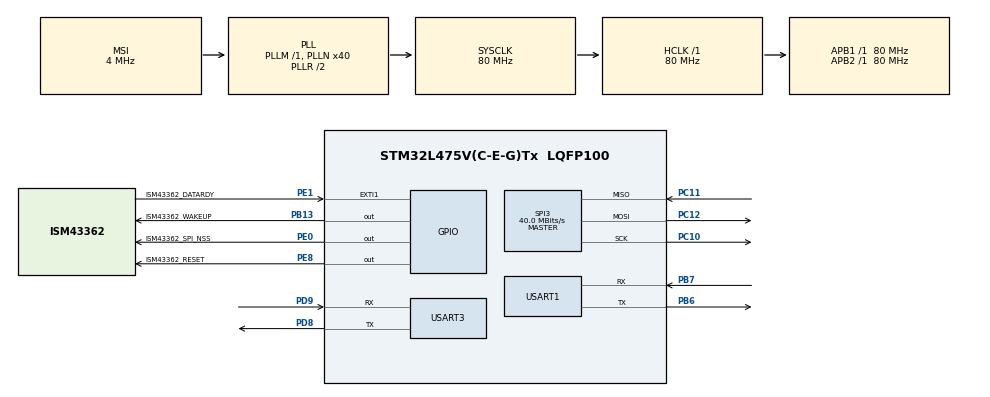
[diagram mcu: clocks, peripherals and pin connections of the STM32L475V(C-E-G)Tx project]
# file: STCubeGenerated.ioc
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Dma.Request0=SPI3_RX
Dma.Request1=SPI3_TX
Dma.SPI3_RX.0.Direction=DMA_PERIPH_TO_MEMORY
Dma.SPI3_RX.0.Instance=DMA2_Channel1
Dma.SPI3_RX.0.MemDataAlignment=DMA_MDATAALIGN_BYTE
Dma.SPI3_RX.0.MemInc=DMA_MINC_ENABLE
Dma.SPI3_RX.0.Mode=DMA_NORMAL
Dma.SPI3_RX.0.PeriphDataAlignment=DMA_PDATAALIGN_BYTE
Dma.SPI3_RX.0.PeriphInc=DMA_PINC_DISABLE
Dma.SPI3_RX.0.Priority=DMA_PRIORITY_LOW
Dma.SPI3_TX.1.Direction=DMA_MEMORY_TO_PERIPH
Dma.SPI3_TX.1.Instance=DMA2_Channel2
Dma.SPI3_TX.1.MemDataAlignment=DMA_MDATAALIGN_BYTE
Dma.SPI3_TX.1.MemInc=DMA_MINC_ENABLE
Dma.SPI3_TX.1.Mode=DMA_NORMAL
Dma.SPI3_TX.1.PeriphDataAlignment=DMA_PDATAALIGN_BYTE
Dma.SPI3_TX.1.PeriphInc=DMA_PINC_DISABLE
Dma.SPI3_TX.1.Priority=DMA_PRIORITY_LOW
Mcu.Family=STM32L4
Mcu.Name=STM32L475V(C-E-G)Tx
Mcu.Package=LQFP100
NVIC.DMA2_Channel1_IRQn=true\:7\:0\:true\:false\:true\:false\:true
NVIC.DMA2_Channel2_IRQn=true\:7\:0\:true\:false\:true\:false\:true
NVIC.EXTI1_IRQn=true\:15\:0\:true\:false\:true\:true\:true
NVIC.PriorityGroup=NVIC_PRIORITYGROUP_4
NVIC.SPI3_IRQn=true\:8\:0\:true\:false\:true\:true\:true
PB13.GPIO_Label=ISM43362_WAKEUP
PB13.Signal=GPIO_Output
PB6.Mode=Asynchronous
PB6.Signal=USART1_TX
PB7.Mode=Asynchronous
PB7.Signal=USART1_RX
PC10.Mode=Full_Duplex_Master
PC10.Signal=SPI3_SCK
PC11.Mode=Full_Duplex_Master
PC11.Signal=SPI3_MISO
PC12.Mode=Full_Duplex_Master
PC12.Signal=SPI3_MOSI
PC14-OSC32_IN\ (PC14).Mode=LSE-External-Oscillator
PC14-OSC32_IN\ (PC14).Signal=RCC_OSC32_IN
PC15-OSC32_OUT\ (PC15).Mode=LSE-External-Oscillator
PC15-OSC32_OUT\ (PC15).Signal=RCC_OSC32_OUT
PD8.Mode=Asynchronous
PD8.Signal=USART3_TX
PD9.Mode=Asynchronous
PD9.Signal=USART3_RX
PE0.GPIO_Label=ISM43362_SPI_NSS
PE0.GPIO_Speed=GPIO_SPEED_FREQ_VERY_HIGH
PE0.Signal=GPIO_Output
PE1.GPIO_Label=ISM43362_DATARDY
PE1.Signal=GPXTI1
PE8.GPIO_Label=ISM43362_RESET
PE8.Signal=GPIO_Output
ProjectManager.HeapSize=0x200
ProjectManager.StackSize=0x400
ProjectManager.TargetToolchain=MDK-ARM V5
RCC.ADCFreq_Value=48000000
RCC.AHBFreq_Value=80000000
RCC.APB1Freq_Value=80000000
RCC.APB1TimFreq_Value=80000000
RCC.APB2Freq_Value=80000000
RCC.APB2TimFreq_Value=80000000
RCC.CortexFreq_Value=80000000
RCC.HCLKFreq_Value=80000000
RCC.HSE_VALUE=8000000
RCC.HSI_VALUE=16000000
RCC.MSI_VALUE=4000000
RCC.PLLN=40
RCC.PLLSAI1N=24
RCC.SYSCLKFreq_VALUE=80000000
RCC.SYSCLKSource=RCC_SYSCLKSOURCE_PLLCLK
RCC.USBFreq_Value=48000000
RCC.VCOOutputFreq_Value=160000000
SPI3.CalculateBaudRate=40.0 MBits/s
SPI3.Direction=SPI_DIRECTION_2LINES
SPI3.Mode=SPI_MODE_MASTER
SPI3.VirtualType=VM_MASTER
USART1.VirtualMode-Asynchronous=VM_ASYNC
USART3.VirtualMode-Asynchronous=VM_ASYNC
VP_RNG_VS_RNG.Mode=RNG_Activate
board=custom

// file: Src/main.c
/* USER CODE BEGIN Header */
/**
  ******************************************************************************
  * @file           : main.c
  * @brief          : Main program body
  ******************************************************************************
  ** This notice applies to any and all portions of this file
  * that are not between comment pairs USER CODE BEGIN and
  * USER CODE END. Other portions of this file, whether
  * inserted by the user or by software development tools
  * are owned by their respective copyright owners.
  *
  * COPYRIGHT(c) 2018 STMicroelectronics
  *
  * Redistribution and use in source and binary forms, with or without modification,
  * are permitted provided that the following conditions are met:
  *   1. Redistributions of source code must retain the above copyright notice,
  *      this list of conditions and the following disclaimer.
  *   2. Redistributions in binary form must reproduce the above copyright notice,
  *      this list of conditions and the following disclaimer in the documentation
  *      and/or other materials provided with the distribution.
  *   3. Neither the name of STMicroelectronics nor the names of its contributors
  *      may be used to endorse or promote products derived from this software
  *      without specific prior written permission.
  *
  * THIS SOFTWARE IS PROVIDED BY THE COPYRIGHT HOLDERS AND CONTRIBUTORS "AS IS"
  * AND ANY EXPRESS OR IMPLIED WARRANTIES, INCLUDING, BUT NOT LIMITED TO, THE
  * IMPLIED WARRANTIES OF MERCHANTABILITY AND FITNESS FOR A PARTICULAR PURPOSE ARE
  * DISCLAIMED. IN NO EVENT SHALL THE COPYRIGHT HOLDER OR CONTRIBUTORS BE LIABLE
  * FOR ANY DIRECT, INDIRECT, INCIDENTAL, SPECIAL, EXEMPLARY, OR CONSEQUENTIAL
  * DAMAGES (INCLUDING, BUT NOT LIMITED TO, PROCUREMENT OF SUBSTITUTE GOODS OR
  * SERVICES; LOSS OF USE, DATA, OR PROFITS; OR BUSINESS INTERRUPTION) HOWEVER
  * CAUSED AND ON ANY THEORY OF LIABILITY, WHETHER IN CONTRACT, STRICT LIABILITY,
  * OR TORT (INCLUDING NEGLIGENCE OR OTHERWISE) ARISING IN ANY WAY OUT OF THE USE
  * OF THIS SOFTWARE, EVEN IF ADVISED OF THE POSSIBILITY OF SUCH DAMAGE.
  *
  ******************************************************************************
  */
/* USER CODE END Header */

#include "main.h"

/* USER CODE BEGIN Includes */
#include <stdbool.h>
#include "RTE_Components.h"
#ifdef RTE_Compiler_EventRecorder
#include "EventRecorder.h"
#endif
#include "pdmc_main.h"

extern void WiFi_ISM43362_Pin_DATARDY_IRQ (void);

extern const osThreadAttr_t app_main_attr;

/* USER CODE END Includes */

RNG_HandleTypeDef hrng;

SPI_HandleTypeDef hspi3;
DMA_HandleTypeDef hdma_spi3_rx;
DMA_HandleTypeDef hdma_spi3_tx;

UART_HandleTypeDef huart1;
UART_HandleTypeDef huart3;

/* USER CODE BEGIN PV */
/* Private variables ---------------------------------------------------------*/

/* USER CODE END PV */

void SystemClock_Config(void);
static void MX_GPIO_Init(void);
static void MX_DMA_Init(void);
static void MX_SPI3_Init(void);
static void MX_USART1_UART_Init(void);
static void MX_USART3_UART_Init(void);
static void MX_RNG_Init(void);
/* USER CODE BEGIN PFP */
/* Private function prototypes -----------------------------------------------*/

/* USER CODE END PFP */

/* USER CODE BEGIN 0 */

/**
  * Override default HAL_GetTick function
  */
volatile uint32_t DEBUG_Tick = 0;
uint32_t HAL_GetTick (void) {
  static uint32_t ticks = 0U;
         uint32_t i;

  if (osKernelGetState () == osKernelRunning) {
    DEBUG_Tick = osKernelGetTickCount ();
    return ((uint32_t)osKernelGetTickCount ());
  }

  /* If Kernel is not running wait approximately 1 ms then increment
     and return auxiliary tick counter value */
  for (i = (SystemCoreClock >> 14U); i > 0U; i--) {
    __NOP(); __NOP(); __NOP(); __NOP(); __NOP(); __NOP();
    __NOP(); __NOP(); __NOP(); __NOP(); __NOP(); __NOP();
  }
  return ++ticks;
}

/**
  * @brief  EXTI line detection callback.
  * @param  GPIO_Pin: Specifies the port pin connected to corresponding EXTI line.
  * @retval None
  */
void HAL_GPIO_EXTI_Callback(uint16_t GPIO_Pin)
{
    if (GPIO_Pin == GPIO_PIN_1) {
        WiFi_ISM43362_Pin_DATARDY_IRQ();
    }
}

/* USER CODE END 0 */

int main(void)
{

  /* MCU Configuration--------------------------------------------------------*/

  /* Reset of all peripherals, Initializes the Flash interface and the Systick. */
  HAL_Init();

  /* Configure the system clock */
  SystemClock_Config();

  /* USER CODE BEGIN SysInit */
  SystemCoreClockUpdate();
  /* USER CODE END SysInit */

  /* Initialize all configured peripherals */
  MX_GPIO_Init();
  MX_DMA_Init();
  MX_SPI3_Init();
  MX_USART1_UART_Init();
  MX_USART3_UART_Init();
  MX_RNG_Init();
  /* USER CODE BEGIN 2 */

  osKernelInitialize ();                        /* Initialize CMSIS-RTOS2 */
  //osThreadNew(poll_thread, NULL, NULL);  /* Create application main thread */
  osThreadNew(mbed_cloud_application_entrypoint, NULL, &app_main_attr);  /* Create application main thread */
  osKernelStart();                              /* Start thread execution */

  /* USER CODE END 2 */

  /* Infinite loop */
  while (1)
  {

  }
}

void SystemClock_Config(void)
{
  RCC_OscInitTypeDef RCC_OscInitStruct = {0};
  RCC_ClkInitTypeDef RCC_ClkInitStruct = {0};
  RCC_PeriphCLKInitTypeDef PeriphClkInit = {0};

  /** Configure LSE Drive Capability
  */
  HAL_PWR_EnableBkUpAccess();
  __HAL_RCC_LSEDRIVE_CONFIG(RCC_LSEDRIVE_LOW);
  /** Initializes the CPU, AHB and APB busses clocks
  */
  RCC_OscInitStruct.OscillatorType = RCC_OSCILLATORTYPE_LSE|RCC_OSCILLATORTYPE_MSI;
  RCC_OscInitStruct.LSEState = RCC_LSE_ON;
  RCC_OscInitStruct.MSIState = RCC_MSI_ON;
  RCC_OscInitStruct.MSICalibrationValue = 0;
  RCC_OscInitStruct.MSIClockRange = RCC_MSIRANGE_6;
  RCC_OscInitStruct.PLL.PLLState = RCC_PLL_ON;
  RCC_OscInitStruct.PLL.PLLSource = RCC_PLLSOURCE_MSI;
  RCC_OscInitStruct.PLL.PLLM = 1;
  RCC_OscInitStruct.PLL.PLLN = 40;
  RCC_OscInitStruct.PLL.PLLP = RCC_PLLP_DIV7;
  RCC_OscInitStruct.PLL.PLLQ = RCC_PLLQ_DIV2;
  RCC_OscInitStruct.PLL.PLLR = RCC_PLLR_DIV2;
  if (HAL_RCC_OscConfig(&RCC_OscInitStruct) != HAL_OK)
  {
    Error_Handler();
  }
  /** Initializes the CPU, AHB and APB busses clocks
  */
  RCC_ClkInitStruct.ClockType = RCC_CLOCKTYPE_HCLK|RCC_CLOCKTYPE_SYSCLK
                              |RCC_CLOCKTYPE_PCLK1|RCC_CLOCKTYPE_PCLK2;
  RCC_ClkInitStruct.SYSCLKSource = RCC_SYSCLKSOURCE_PLLCLK;
  RCC_ClkInitStruct.AHBCLKDivider = RCC_SYSCLK_DIV1;
  RCC_ClkInitStruct.APB1CLKDivider = RCC_HCLK_DIV1;
  RCC_ClkInitStruct.APB2CLKDivider = RCC_HCLK_DIV1;

  if (HAL_RCC_ClockConfig(&RCC_ClkInitStruct, FLASH_LATENCY_4) != HAL_OK)
  {
    Error_Handler();
  }
  PeriphClkInit.PeriphClockSelection = RCC_PERIPHCLK_USART1|RCC_PERIPHCLK_USART3
                              |RCC_PERIPHCLK_RNG;
  PeriphClkInit.Usart1ClockSelection = RCC_USART1CLKSOURCE_PCLK2;
  PeriphClkInit.Usart3ClockSelection = RCC_USART3CLKSOURCE_PCLK1;
  PeriphClkInit.RngClockSelection = RCC_RNGCLKSOURCE_PLLSAI1;
  PeriphClkInit.PLLSAI1.PLLSAI1Source = RCC_PLLSOURCE_MSI;
  PeriphClkInit.PLLSAI1.PLLSAI1M = 1;
  PeriphClkInit.PLLSAI1.PLLSAI1N = 24;
  PeriphClkInit.PLLSAI1.PLLSAI1P = RCC_PLLP_DIV7;
  PeriphClkInit.PLLSAI1.PLLSAI1Q = RCC_PLLQ_DIV2;
  PeriphClkInit.PLLSAI1.PLLSAI1R = RCC_PLLR_DIV2;
  PeriphClkInit.PLLSAI1.PLLSAI1ClockOut = RCC_PLLSAI1_48M2CLK;
  if (HAL_RCCEx_PeriphCLKConfig(&PeriphClkInit) != HAL_OK)
  {
    Error_Handler();
  }
  /** Configure the main internal regulator output voltage
  */
  if (HAL_PWREx_ControlVoltageScaling(PWR_REGULATOR_VOLTAGE_SCALE1) != HAL_OK)
  {
    Error_Handler();
  }
  /** Enable MSI Auto calibration
  */
  HAL_RCCEx_EnableMSIPLLMode();
}

static void MX_RNG_Init(void)
{

  hrng.Instance = RNG;
  if (HAL_RNG_Init(&hrng) != HAL_OK)
  {
    Error_Handler();
  }

}

static void MX_SPI3_Init(void)
{

  /* SPI3 parameter configuration*/
  hspi3.Instance = SPI3;
  hspi3.Init.Mode = SPI_MODE_MASTER;
  hspi3.Init.Direction = SPI_DIRECTION_2LINES;
  hspi3.Init.DataSize = SPI_DATASIZE_4BIT;
  hspi3.Init.CLKPolarity = SPI_POLARITY_LOW;
  hspi3.Init.CLKPhase = SPI_PHASE_1EDGE;
  hspi3.Init.NSS = SPI_NSS_SOFT;
  hspi3.Init.BaudRatePrescaler = SPI_BAUDRATEPRESCALER_2;
  hspi3.Init.FirstBit = SPI_FIRSTBIT_MSB;
  hspi3.Init.TIMode = SPI_TIMODE_DISABLE;
  hspi3.Init.CRCCalculation = SPI_CRCCALCULATION_DISABLE;
  hspi3.Init.CRCPolynomial = 7;
  hspi3.Init.CRCLength = SPI_CRC_LENGTH_DATASIZE;
  hspi3.Init.NSSPMode = SPI_NSS_PULSE_ENABLE;
  if (HAL_SPI_Init(&hspi3) != HAL_OK)
  {
    Error_Handler();
  }

}

static void MX_USART1_UART_Init(void)
{

  huart1.Instance = USART1;
  huart1.Init.BaudRate = 115200;
  huart1.Init.WordLength = UART_WORDLENGTH_8B;
  huart1.Init.StopBits = UART_STOPBITS_1;
  huart1.Init.Parity = UART_PARITY_NONE;
  huart1.Init.Mode = UART_MODE_TX_RX;
  huart1.Init.HwFlowCtl = UART_HWCONTROL_NONE;
  huart1.Init.OverSampling = UART_OVERSAMPLING_16;
  huart1.Init.OneBitSampling = UART_ONE_BIT_SAMPLE_DISABLE;
  huart1.AdvancedInit.AdvFeatureInit = UART_ADVFEATURE_NO_INIT;
  if (HAL_UART_Init(&huart1) != HAL_OK)
  {
    Error_Handler();
  }

}

static void MX_USART3_UART_Init(void)
{

  huart3.Instance = USART3;
  huart3.Init.BaudRate = 115200;
  huart3.Init.WordLength = UART_WORDLENGTH_8B;
  huart3.Init.StopBits = UART_STOPBITS_1;
  huart3.Init.Parity = UART_PARITY_NONE;
  huart3.Init.Mode = UART_MODE_TX_RX;
  huart3.Init.HwFlowCtl = UART_HWCONTROL_NONE;
  huart3.Init.OverSampling = UART_OVERSAMPLING_16;
  huart3.Init.OneBitSampling = UART_ONE_BIT_SAMPLE_DISABLE;
  huart3.AdvancedInit.AdvFeatureInit = UART_ADVFEATURE_NO_INIT;
  if (HAL_UART_Init(&huart3) != HAL_OK)
  {
    Error_Handler();
  }

}

static void MX_DMA_Init(void)
{

  /* DMA controller clock enable */
  __HAL_RCC_DMA2_CLK_ENABLE();

  /* DMA interrupt init */
  /* DMA2_Channel1_IRQn interrupt configuration */
  HAL_NVIC_SetPriority(DMA2_Channel1_IRQn, 7, 0);
  HAL_NVIC_EnableIRQ(DMA2_Channel1_IRQn);
  /* DMA2_Channel2_IRQn interrupt configuration */
  HAL_NVIC_SetPriority(DMA2_Channel2_IRQn, 7, 0);
  HAL_NVIC_EnableIRQ(DMA2_Channel2_IRQn);

}

static void MX_GPIO_Init(void)
{
  GPIO_InitTypeDef GPIO_InitStruct = {0};

  /* GPIO Ports Clock Enable */
  __HAL_RCC_GPIOC_CLK_ENABLE();
  __HAL_RCC_GPIOE_CLK_ENABLE();
  __HAL_RCC_GPIOB_CLK_ENABLE();
  __HAL_RCC_GPIOD_CLK_ENABLE();

  /*Configure GPIO pin Output Level */
  HAL_GPIO_WritePin(GPIOE, ISM43362_RESET_Pin|ISM43362_SPI_NSS_Pin, GPIO_PIN_RESET);

  /*Configure GPIO pin Output Level */
  HAL_GPIO_WritePin(ISM43362_WAKEUP_GPIO_Port, ISM43362_WAKEUP_Pin, GPIO_PIN_RESET);

  /*Configure GPIO pin : ISM43362_RESET_Pin */
  GPIO_InitStruct.Pin = ISM43362_RESET_Pin;
  GPIO_InitStruct.Mode = GPIO_MODE_OUTPUT_PP;
  GPIO_InitStruct.Pull = GPIO_NOPULL;
  GPIO_InitStruct.Speed = GPIO_SPEED_FREQ_LOW;
  HAL_GPIO_Init(ISM43362_RESET_GPIO_Port, &GPIO_InitStruct);

  /*Configure GPIO pin : ISM43362_WAKEUP_Pin */
  GPIO_InitStruct.Pin = ISM43362_WAKEUP_Pin;
  GPIO_InitStruct.Mode = GPIO_MODE_OUTPUT_PP;
  GPIO_InitStruct.Pull = GPIO_NOPULL;
  GPIO_InitStruct.Speed = GPIO_SPEED_FREQ_LOW;
  HAL_GPIO_Init(ISM43362_WAKEUP_GPIO_Port, &GPIO_InitStruct);

  /*Configure GPIO pin : ISM43362_SPI_NSS_Pin */
  GPIO_InitStruct.Pin = ISM43362_SPI_NSS_Pin;
  GPIO_InitStruct.Mode = GPIO_MODE_OUTPUT_PP;
  GPIO_InitStruct.Pull = GPIO_NOPULL;
  GPIO_InitStruct.Speed = GPIO_SPEED_FREQ_VERY_HIGH;
  HAL_GPIO_Init(ISM43362_SPI_NSS_GPIO_Port, &GPIO_InitStruct);

  /*Configure GPIO pin : ISM43362_DATARDY_Pin */
  GPIO_InitStruct.Pin = ISM43362_DATARDY_Pin;
  GPIO_InitStruct.Mode = GPIO_MODE_IT_RISING;
  GPIO_InitStruct.Pull = GPIO_NOPULL;
  HAL_GPIO_Init(ISM43362_DATARDY_GPIO_Port, &GPIO_InitStruct);

  /* EXTI interrupt init*/
  HAL_NVIC_SetPriority(EXTI1_IRQn, 15, 0);
  HAL_NVIC_EnableIRQ(EXTI1_IRQn);

}

void Error_Handler(void)
{
  while(1)
  {
  }
}

#ifdef __GNUC__
  /* With GCC/RAISONANCE, small printf (option LD Linker->Libraries->Small printf
     set to 'Yes') calls __io_putchar() */
  #define PUTCHAR_PROTOTYPE int stdout_putchar(int ch)
#else
  #define PUTCHAR_PROTOTYPE int fputc(int ch, FILE *f)
#endif /* __GNUC__ */

PUTCHAR_PROTOTYPE
{
  /* Place your implementation of fputc here */
  /* e.g. write a character to the EVAL_COM1 and Loop until the end of transmission */
  HAL_UART_Transmit(&huart1, (uint8_t *)&ch, 1, 0xFFFF);

  return ch;
}

/************************ (C) COPYRIGHT STMicroelectronics *****END OF FILE****/
